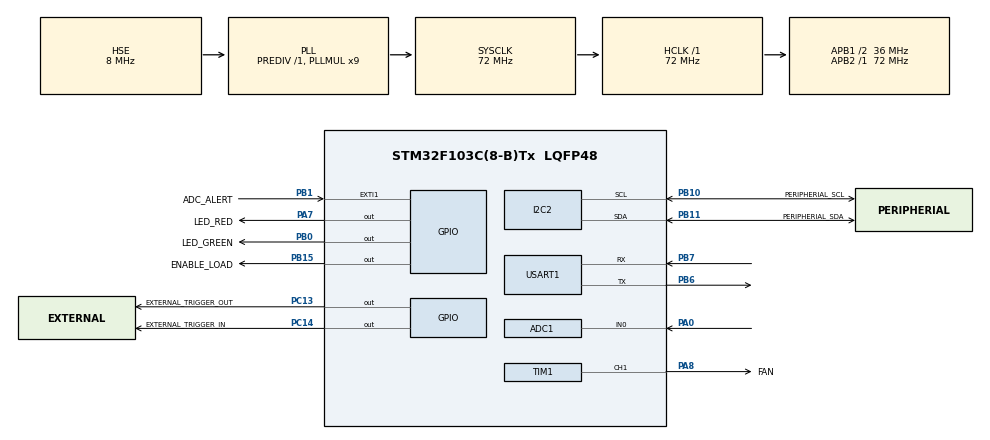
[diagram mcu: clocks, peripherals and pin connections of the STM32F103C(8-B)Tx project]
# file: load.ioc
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ADC1.Channel-4\#ChannelRegularConversion=ADC_CHANNEL_0
ADC1.ContinuousConvMode=ENABLE
ADC1.NbrOfConversionFlag=1
ADC1.Rank-4\#ChannelRegularConversion=1
ADC1.SamplingTime-4\#ChannelRegularConversion=ADC_SAMPLETIME_1CYCLE_5
ADC1.master=1
Dma.ADC1.1.Direction=DMA_PERIPH_TO_MEMORY
Dma.ADC1.1.Instance=DMA1_Channel1
Dma.ADC1.1.MemDataAlignment=DMA_MDATAALIGN_HALFWORD
Dma.ADC1.1.MemInc=DMA_MINC_ENABLE
Dma.ADC1.1.Mode=DMA_CIRCULAR
Dma.ADC1.1.PeriphDataAlignment=DMA_PDATAALIGN_HALFWORD
Dma.ADC1.1.PeriphInc=DMA_PINC_DISABLE
Dma.ADC1.1.Priority=DMA_PRIORITY_LOW
Dma.Request0=USART1_RX
Dma.Request1=ADC1
Dma.Request2=USART1_TX
Dma.USART1_RX.0.Direction=DMA_PERIPH_TO_MEMORY
Dma.USART1_RX.0.Instance=DMA1_Channel5
Dma.USART1_RX.0.MemDataAlignment=DMA_MDATAALIGN_BYTE
Dma.USART1_RX.0.MemInc=DMA_MINC_ENABLE
Dma.USART1_RX.0.Mode=DMA_CIRCULAR
Dma.USART1_RX.0.PeriphDataAlignment=DMA_PDATAALIGN_BYTE
Dma.USART1_RX.0.PeriphInc=DMA_PINC_DISABLE
Dma.USART1_RX.0.Priority=DMA_PRIORITY_LOW
Dma.USART1_TX.2.Direction=DMA_MEMORY_TO_PERIPH
Dma.USART1_TX.2.Instance=DMA1_Channel4
Dma.USART1_TX.2.MemDataAlignment=DMA_MDATAALIGN_BYTE
Dma.USART1_TX.2.MemInc=DMA_MINC_ENABLE
Dma.USART1_TX.2.Mode=DMA_NORMAL
Dma.USART1_TX.2.PeriphDataAlignment=DMA_PDATAALIGN_BYTE
Dma.USART1_TX.2.PeriphInc=DMA_PINC_DISABLE
Dma.USART1_TX.2.Priority=DMA_PRIORITY_HIGH
I2C2.I2C_Mode=I2C_Fast
I2C2.OwnAddress=0
Mcu.Family=STM32F1
Mcu.Name=STM32F103C(8-B)Tx
Mcu.Package=LQFP48
NVIC.DMA1_Channel1_IRQn=true\:0\:0\:false\:false\:true\:false\:true\:true
NVIC.DMA1_Channel4_IRQn=true\:0\:0\:false\:false\:true\:false\:true\:true
NVIC.DMA1_Channel5_IRQn=true\:0\:0\:false\:false\:true\:false\:true\:true
NVIC.EXTI1_IRQn=true\:6\:0\:true\:false\:true\:true\:true\:true
NVIC.PriorityGroup=NVIC_PRIORITYGROUP_4
NVIC.TIM3_IRQn=true\:0\:0\:false\:false\:true\:true\:true\:true
NVIC.USART1_IRQn=true\:0\:0\:false\:false\:true\:true\:true\:true
PA0-WKUP.Signal=ADCx_IN0
PA13.Mode=Trace_Asynchronous_SW
PA13.Signal=SYS_JTMS-SWDIO
PA14.Mode=Trace_Asynchronous_SW
PA14.Signal=SYS_JTCK-SWCLK
PA7.GPIO_Label=LED_RED
PA7.Signal=GPIO_Output
PA8.GPIO_Label=FAN
PA8.Signal=S_TIM1_CH1
PB0.GPIO_Label=LED_GREEN
PB0.Signal=GPIO_Output
PB1.GPIO_Label=ADC_ALERT
PB1.GPIO_ModeDefaultEXTI=GPIO_MODE_IT_FALLING
PB1.Signal=GPXTI1
PB10.GPIO_Label=PERIPHERIAL_SCL
PB10.Mode=I2C
PB10.Signal=I2C2_SCL
PB11.GPIO_Label=PERIPHERIAL_SDA
PB11.Mode=I2C
PB11.Signal=I2C2_SDA
PB15.GPIO_Label=ENABLE_LOAD
PB15.Signal=GPIO_Output
PB3.Mode=Trace_Asynchronous_SW
PB3.Signal=SYS_JTDO-TRACESWO
PB6.Mode=Asynchronous
PB6.Signal=USART1_TX
PB7.Mode=Asynchronous
PB7.Signal=USART1_RX
PC13-TAMPER-RTC.GPIO_Label=EXTERNAL_TRIGGER_OUT
PC13-TAMPER-RTC.PinState=GPIO_PIN_SET
PC13-TAMPER-RTC.Signal=GPIO_Output
PC14-OSC32_IN.GPIO_Label=EXTERNAL_TRIGGER_IN
PC14-OSC32_IN.Signal=GPIO_Output
PD0-OSC_IN.Mode=HSE-External-Oscillator
PD0-OSC_IN.Signal=RCC_OSC_IN
PD1-OSC_OUT.Mode=HSE-External-Oscillator
PD1-OSC_OUT.Signal=RCC_OSC_OUT
ProjectManager.HeapSize=0x200
ProjectManager.StackSize=0x400
ProjectManager.TargetToolchain=Makefile
RCC.ADCPresc=RCC_ADCPCLK2_DIV8
RCC.AHBFreq_Value=72000000
RCC.APB1CLKDivider=RCC_HCLK_DIV2
RCC.APB1Freq_Value=36000000
RCC.APB1TimFreq_Value=72000000
RCC.APB2Freq_Value=72000000
RCC.APB2TimFreq_Value=72000000
RCC.HCLKFreq_Value=72000000
RCC.PLLMUL=RCC_PLL_MUL9
RCC.PLLSourceVirtual=RCC_PLLSOURCE_HSE
RCC.SYSCLKFreq_VALUE=72000000
RCC.SYSCLKSource=RCC_SYSCLKSOURCE_PLLCLK
RCC.USBFreq_Value=72000000
RTC.Format=RTC_FORMAT_BIN
SH.ADCx_IN0.0=ADC2_IN0
SH.ADCx_IN0.1=ADC1_IN0,IN0
SH.S_TIM1_CH1.0=TIM1_CH1,PWM Generation1 CH1
TIM1.Channel-PWM\ Generation1\ CH1=TIM_CHANNEL_1
TIM3.AutoReloadPreload=TIM_AUTORELOAD_PRELOAD_ENABLE
TIM3.Period=56250
TIM3.Prescaler=256
USART1.VirtualMode=VM_ASYNC
VP_RTC_VS_RTC_Activate.Mode=RTC_Enabled
VP_TIM1_VS_ClockSourceINT.Mode=Internal
VP_TIM3_VS_ClockSourceINT.Mode=Internal
board=custom

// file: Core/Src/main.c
/* USER CODE BEGIN Header */
/**
 ******************************************************************************
 * @file           : main.c
 * @brief          : Main program body
 ******************************************************************************
 * @attention
 *
 * Copyright (c) 2024 STMicroelectronics.
 * All rights reserved.
 *
 * This software is licensed under terms that can be found in the LICENSE file
 * in the root directory of this software component.
 * If no LICENSE file comes with this software, it is provided AS-IS.
 *
 ******************************************************************************
 */
/* USER CODE END Header */
#include "main.h"

/* USER CODE BEGIN Includes */
#include <stdio.h>
#include <mcp4725.h>
#include <ads111x.h>
#include <adc.h>
#include <uart.h>
#include <fan.h>
#include <control.h>
#include <utils.h>
/* USER CODE END Includes */

ADC_HandleTypeDef hadc1;
DMA_HandleTypeDef hdma_adc1;

I2C_HandleTypeDef hi2c2;

RTC_HandleTypeDef hrtc;

TIM_HandleTypeDef htim1;
TIM_HandleTypeDef htim3;

UART_HandleTypeDef huart1;
DMA_HandleTypeDef hdma_usart1_rx;
DMA_HandleTypeDef hdma_usart1_tx;

/* USER CODE BEGIN PV */
extern float dac_voltage;
extern uint8_t enable;

int _write(int fd __attribute__((unused)), char *ptr, int len)
{
  HAL_UART_Transmit(&huart1, (uint8_t *)ptr, len, HAL_MAX_DELAY);
  return len;
}

/* USER CODE END PV */

void SystemClock_Config(void);
static void MX_GPIO_Init(void);
static void MX_DMA_Init(void);
static void MX_ADC1_Init(void);
static void MX_I2C2_Init(void);
static void MX_RTC_Init(void);
static void MX_TIM1_Init(void);
static void MX_USART1_UART_Init(void);
static void MX_TIM3_Init(void);
/* USER CODE BEGIN PFP */
uint8_t data[6] = {0};
extern uint32_t trigger_test;
/* USER CODE END PFP */

/* USER CODE BEGIN 0 */
void error_handler(void)
{
  while (1)
  {
    HAL_GPIO_TogglePin(LED_RED_GPIO_Port, LED_RED_Pin);
    HAL_Delay(100);
  }
}

volatile uint32_t adc_ready = 0;
void HAL_GPIO_EXTI_Callback(uint16_t GPIO_Pin)
{
  if (GPIO_Pin == ADC_ALERT_Pin)
  {
    adc_ready = 1;
  }
}

/* USER CODE END 0 */

int main(void)
{

  /* MCU Configuration--------------------------------------------------------*/

  /* Reset of all peripherals, Initializes the Flash interface and the Systick. */
  HAL_Init();

  /* Configure the system clock */
  SystemClock_Config();

  /* Initialize all configured peripherals */
  MX_GPIO_Init();
  MX_DMA_Init();
  MX_ADC1_Init();
  MX_I2C2_Init();
  MX_RTC_Init();
  MX_TIM1_Init();
  MX_USART1_UART_Init();
  MX_TIM3_Init();
  /* USER CODE BEGIN 2 */
  // MCP4725 device descriptor
  mcp4725_t dac;
  control_t control;

  // Initialize MCP4725 device
  if (mcp4725_init(&dac, &hi2c2, MCP4725_I2C_ADDR) != HAL_OK)
  {
    error_handler();
  }

  adc_init(&hi2c2, &hadc1);
  uart_init(&huart1);
  fan_init(&htim1);
  control_init(&control, &dac);

  HAL_TIM_Base_Start_IT(&htim3);

  HAL_GPIO_WritePin(ENABLE_LOAD_GPIO_Port, ENABLE_LOAD_Pin, GPIO_PIN_RESET);
  /* USER CODE END 2 */

  /* Infinite loop */
  /* USER CODE BEGIN WHILE */
  while (1)
  {

    /* Measure adc */
    if (adc_ready)
    {
      if (adc_measure() != HAL_OK)
      {
        LOG_ERROR("Error reading ADC\n");
      }

      adc_ready = 0;
    }

    if (adc_all_channels_measured())
    {
      adc_calculate_average();
      control_set_from_server(&control, &(h_load_state.control));
      control_update(&control);
    }

    static uint32_t next_uart_update = 0;
    if (HAL_GetTick() >= next_uart_update)
    {
      adc_measure();
      next_uart_update = HAL_GetTick() + 200;
      fan_update();
    }
    /* USER CODE END WHILE */

  }
}

void SystemClock_Config(void)
{
  RCC_OscInitTypeDef RCC_OscInitStruct = {0};
  RCC_ClkInitTypeDef RCC_ClkInitStruct = {0};
  RCC_PeriphCLKInitTypeDef PeriphClkInit = {0};

  /** Initializes the RCC Oscillators according to the specified parameters
  * in the RCC_OscInitTypeDef structure.
  */
  RCC_OscInitStruct.OscillatorType = RCC_OSCILLATORTYPE_LSI|RCC_OSCILLATORTYPE_HSE;
  RCC_OscInitStruct.HSEState = RCC_HSE_ON;
  RCC_OscInitStruct.HSEPredivValue = RCC_HSE_PREDIV_DIV1;
  RCC_OscInitStruct.HSIState = RCC_HSI_ON;
  RCC_OscInitStruct.LSIState = RCC_LSI_ON;
  RCC_OscInitStruct.PLL.PLLState = RCC_PLL_ON;
  RCC_OscInitStruct.PLL.PLLSource = RCC_PLLSOURCE_HSE;
  RCC_OscInitStruct.PLL.PLLMUL = RCC_PLL_MUL9;
  if (HAL_RCC_OscConfig(&RCC_OscInitStruct) != HAL_OK)
  {
    Error_Handler();
  }

  /** Initializes the CPU, AHB and APB buses clocks
  */
  RCC_ClkInitStruct.ClockType = RCC_CLOCKTYPE_HCLK|RCC_CLOCKTYPE_SYSCLK
                              |RCC_CLOCKTYPE_PCLK1|RCC_CLOCKTYPE_PCLK2;
  RCC_ClkInitStruct.SYSCLKSource = RCC_SYSCLKSOURCE_PLLCLK;
  RCC_ClkInitStruct.AHBCLKDivider = RCC_SYSCLK_DIV1;
  RCC_ClkInitStruct.APB1CLKDivider = RCC_HCLK_DIV2;
  RCC_ClkInitStruct.APB2CLKDivider = RCC_HCLK_DIV1;

  if (HAL_RCC_ClockConfig(&RCC_ClkInitStruct, FLASH_LATENCY_2) != HAL_OK)
  {
    Error_Handler();
  }
  PeriphClkInit.PeriphClockSelection = RCC_PERIPHCLK_RTC|RCC_PERIPHCLK_ADC;
  PeriphClkInit.RTCClockSelection = RCC_RTCCLKSOURCE_LSI;
  PeriphClkInit.AdcClockSelection = RCC_ADCPCLK2_DIV8;
  if (HAL_RCCEx_PeriphCLKConfig(&PeriphClkInit) != HAL_OK)
  {
    Error_Handler();
  }
}

static void MX_ADC1_Init(void)
{

  ADC_ChannelConfTypeDef sConfig = {0};

  /** Common config
  */
  hadc1.Instance = ADC1;
  hadc1.Init.ScanConvMode = ADC_SCAN_DISABLE;
  hadc1.Init.ContinuousConvMode = ENABLE;
  hadc1.Init.DiscontinuousConvMode = DISABLE;
  hadc1.Init.ExternalTrigConv = ADC_SOFTWARE_START;
  hadc1.Init.DataAlign = ADC_DATAALIGN_RIGHT;
  hadc1.Init.NbrOfConversion = 1;
  if (HAL_ADC_Init(&hadc1) != HAL_OK)
  {
    Error_Handler();
  }

  /** Configure Regular Channel
  */
  sConfig.Channel = ADC_CHANNEL_0;
  sConfig.Rank = ADC_REGULAR_RANK_1;
  sConfig.SamplingTime = ADC_SAMPLETIME_1CYCLE_5;
  if (HAL_ADC_ConfigChannel(&hadc1, &sConfig) != HAL_OK)
  {
    Error_Handler();
  }

}

static void MX_I2C2_Init(void)
{

  hi2c2.Instance = I2C2;
  hi2c2.Init.ClockSpeed = 400000;
  hi2c2.Init.DutyCycle = I2C_DUTYCYCLE_2;
  hi2c2.Init.OwnAddress1 = 0;
  hi2c2.Init.AddressingMode = I2C_ADDRESSINGMODE_7BIT;
  hi2c2.Init.DualAddressMode = I2C_DUALADDRESS_DISABLE;
  hi2c2.Init.OwnAddress2 = 0;
  hi2c2.Init.GeneralCallMode = I2C_GENERALCALL_DISABLE;
  hi2c2.Init.NoStretchMode = I2C_NOSTRETCH_DISABLE;
  if (HAL_I2C_Init(&hi2c2) != HAL_OK)
  {
    Error_Handler();
  }

}

static void MX_RTC_Init(void)
{

  /** Initialize RTC Only
  */
  hrtc.Instance = RTC;
  hrtc.Init.AsynchPrediv = RTC_AUTO_1_SECOND;
  hrtc.Init.OutPut = RTC_OUTPUTSOURCE_ALARM;
  if (HAL_RTC_Init(&hrtc) != HAL_OK)
  {
    Error_Handler();
  }

}

static void MX_TIM1_Init(void)
{

  TIM_ClockConfigTypeDef sClockSourceConfig = {0};
  TIM_MasterConfigTypeDef sMasterConfig = {0};
  TIM_OC_InitTypeDef sConfigOC = {0};
  TIM_BreakDeadTimeConfigTypeDef sBreakDeadTimeConfig = {0};

  htim1.Instance = TIM1;
  htim1.Init.Prescaler = 0;
  htim1.Init.CounterMode = TIM_COUNTERMODE_UP;
  htim1.Init.Period = 65535;
  htim1.Init.ClockDivision = TIM_CLOCKDIVISION_DIV1;
  htim1.Init.RepetitionCounter = 0;
  htim1.Init.AutoReloadPreload = TIM_AUTORELOAD_PRELOAD_DISABLE;
  if (HAL_TIM_Base_Init(&htim1) != HAL_OK)
  {
    Error_Handler();
  }
  sClockSourceConfig.ClockSource = TIM_CLOCKSOURCE_INTERNAL;
  if (HAL_TIM_ConfigClockSource(&htim1, &sClockSourceConfig) != HAL_OK)
  {
    Error_Handler();
  }
  if (HAL_TIM_PWM_Init(&htim1) != HAL_OK)
  {
    Error_Handler();
  }
  sMasterConfig.MasterOutputTrigger = TIM_TRGO_RESET;
  sMasterConfig.MasterSlaveMode = TIM_MASTERSLAVEMODE_DISABLE;
  if (HAL_TIMEx_MasterConfigSynchronization(&htim1, &sMasterConfig) != HAL_OK)
  {
    Error_Handler();
  }
  sConfigOC.OCMode = TIM_OCMODE_PWM1;
  sConfigOC.Pulse = 0;
  sConfigOC.OCPolarity = TIM_OCPOLARITY_HIGH;
  sConfigOC.OCNPolarity = TIM_OCNPOLARITY_HIGH;
  sConfigOC.OCFastMode = TIM_OCFAST_DISABLE;
  sConfigOC.OCIdleState = TIM_OCIDLESTATE_RESET;
  sConfigOC.OCNIdleState = TIM_OCNIDLESTATE_RESET;
  if (HAL_TIM_PWM_ConfigChannel(&htim1, &sConfigOC, TIM_CHANNEL_1) != HAL_OK)
  {
    Error_Handler();
  }
  sBreakDeadTimeConfig.OffStateRunMode = TIM_OSSR_DISABLE;
  sBreakDeadTimeConfig.OffStateIDLEMode = TIM_OSSI_DISABLE;
  sBreakDeadTimeConfig.LockLevel = TIM_LOCKLEVEL_OFF;
  sBreakDeadTimeConfig.DeadTime = 0;
  sBreakDeadTimeConfig.BreakState = TIM_BREAK_DISABLE;
  sBreakDeadTimeConfig.BreakPolarity = TIM_BREAKPOLARITY_HIGH;
  sBreakDeadTimeConfig.AutomaticOutput = TIM_AUTOMATICOUTPUT_DISABLE;
  if (HAL_TIMEx_ConfigBreakDeadTime(&htim1, &sBreakDeadTimeConfig) != HAL_OK)
  {
    Error_Handler();
  }
  HAL_TIM_MspPostInit(&htim1);

}

static void MX_TIM3_Init(void)
{

  TIM_ClockConfigTypeDef sClockSourceConfig = {0};
  TIM_MasterConfigTypeDef sMasterConfig = {0};

  htim3.Instance = TIM3;
  htim3.Init.Prescaler = 256;
  htim3.Init.CounterMode = TIM_COUNTERMODE_UP;
  htim3.Init.Period = 56250;
  htim3.Init.ClockDivision = TIM_CLOCKDIVISION_DIV1;
  htim3.Init.AutoReloadPreload = TIM_AUTORELOAD_PRELOAD_ENABLE;
  if (HAL_TIM_Base_Init(&htim3) != HAL_OK)
  {
    Error_Handler();
  }
  sClockSourceConfig.ClockSource = TIM_CLOCKSOURCE_INTERNAL;
  if (HAL_TIM_ConfigClockSource(&htim3, &sClockSourceConfig) != HAL_OK)
  {
    Error_Handler();
  }
  sMasterConfig.MasterOutputTrigger = TIM_TRGO_RESET;
  sMasterConfig.MasterSlaveMode = TIM_MASTERSLAVEMODE_DISABLE;
  if (HAL_TIMEx_MasterConfigSynchronization(&htim3, &sMasterConfig) != HAL_OK)
  {
    Error_Handler();
  }

}

static void MX_USART1_UART_Init(void)
{

  huart1.Instance = USART1;
  huart1.Init.BaudRate = 115200;
  huart1.Init.WordLength = UART_WORDLENGTH_8B;
  huart1.Init.StopBits = UART_STOPBITS_1;
  huart1.Init.Parity = UART_PARITY_NONE;
  huart1.Init.Mode = UART_MODE_TX_RX;
  huart1.Init.HwFlowCtl = UART_HWCONTROL_NONE;
  huart1.Init.OverSampling = UART_OVERSAMPLING_16;
  if (HAL_UART_Init(&huart1) != HAL_OK)
  {
    Error_Handler();
  }

}

static void MX_DMA_Init(void)
{

  /* DMA controller clock enable */
  __HAL_RCC_DMA1_CLK_ENABLE();

  /* DMA interrupt init */
  /* DMA1_Channel1_IRQn interrupt configuration */
  HAL_NVIC_SetPriority(DMA1_Channel1_IRQn, 0, 0);
  HAL_NVIC_EnableIRQ(DMA1_Channel1_IRQn);
  /* DMA1_Channel4_IRQn interrupt configuration */
  HAL_NVIC_SetPriority(DMA1_Channel4_IRQn, 0, 0);
  HAL_NVIC_EnableIRQ(DMA1_Channel4_IRQn);
  /* DMA1_Channel5_IRQn interrupt configuration */
  HAL_NVIC_SetPriority(DMA1_Channel5_IRQn, 0, 0);
  HAL_NVIC_EnableIRQ(DMA1_Channel5_IRQn);

}

static void MX_GPIO_Init(void)
{
  GPIO_InitTypeDef GPIO_InitStruct = {0};

  /* GPIO Ports Clock Enable */
  __HAL_RCC_GPIOC_CLK_ENABLE();
  __HAL_RCC_GPIOD_CLK_ENABLE();
  __HAL_RCC_GPIOA_CLK_ENABLE();
  __HAL_RCC_GPIOB_CLK_ENABLE();

  /*Configure GPIO pin Output Level */
  HAL_GPIO_WritePin(EXTERNAL_TRIGGER_OUT_GPIO_Port, EXTERNAL_TRIGGER_OUT_Pin, GPIO_PIN_SET);

  /*Configure GPIO pin Output Level */
  HAL_GPIO_WritePin(EXTERNAL_TRIGGER_IN_GPIO_Port, EXTERNAL_TRIGGER_IN_Pin, GPIO_PIN_RESET);

  /*Configure GPIO pin Output Level */
  HAL_GPIO_WritePin(LED_RED_GPIO_Port, LED_RED_Pin, GPIO_PIN_RESET);

  /*Configure GPIO pin Output Level */
  HAL_GPIO_WritePin(GPIOB, LED_GREEN_Pin|ENABLE_LOAD_Pin, GPIO_PIN_RESET);

  /*Configure GPIO pins : EXTERNAL_TRIGGER_OUT_Pin EXTERNAL_TRIGGER_IN_Pin */
  GPIO_InitStruct.Pin = EXTERNAL_TRIGGER_OUT_Pin|EXTERNAL_TRIGGER_IN_Pin;
  GPIO_InitStruct.Mode = GPIO_MODE_OUTPUT_PP;
  GPIO_InitStruct.Pull = GPIO_NOPULL;
  GPIO_InitStruct.Speed = GPIO_SPEED_FREQ_LOW;
  HAL_GPIO_Init(GPIOC, &GPIO_InitStruct);

  /*Configure GPIO pin : PA0 */
  GPIO_InitStruct.Pin = GPIO_PIN_0;
  GPIO_InitStruct.Mode = GPIO_MODE_ANALOG;
  HAL_GPIO_Init(GPIOA, &GPIO_InitStruct);

  /*Configure GPIO pin : LED_RED_Pin */
  GPIO_InitStruct.Pin = LED_RED_Pin;
  GPIO_InitStruct.Mode = GPIO_MODE_OUTPUT_PP;
  GPIO_InitStruct.Pull = GPIO_NOPULL;
  GPIO_InitStruct.Speed = GPIO_SPEED_FREQ_LOW;
  HAL_GPIO_Init(LED_RED_GPIO_Port, &GPIO_InitStruct);

  /*Configure GPIO pins : LED_GREEN_Pin ENABLE_LOAD_Pin */
  GPIO_InitStruct.Pin = LED_GREEN_Pin|ENABLE_LOAD_Pin;
  GPIO_InitStruct.Mode = GPIO_MODE_OUTPUT_PP;
  GPIO_InitStruct.Pull = GPIO_NOPULL;
  GPIO_InitStruct.Speed = GPIO_SPEED_FREQ_LOW;
  HAL_GPIO_Init(GPIOB, &GPIO_InitStruct);

  /*Configure GPIO pin : ADC_ALERT_Pin */
  GPIO_InitStruct.Pin = ADC_ALERT_Pin;
  GPIO_InitStruct.Mode = GPIO_MODE_IT_FALLING;
  GPIO_InitStruct.Pull = GPIO_NOPULL;
  HAL_GPIO_Init(ADC_ALERT_GPIO_Port, &GPIO_InitStruct);

  /* EXTI interrupt init*/
  HAL_NVIC_SetPriority(EXTI1_IRQn, 6, 0);
  HAL_NVIC_EnableIRQ(EXTI1_IRQn);

}

/* USER CODE BEGIN 4 */
void HAL_TIM_PeriodElapsedCallback(TIM_HandleTypeDef *htim)
{
  if (htim == &htim3)
  {
    uart_transmit();
  }
}
/* USER CODE END 4 */

void Error_Handler(void)
{
  __disable_irq();
  while (1)
  {
  }
}
